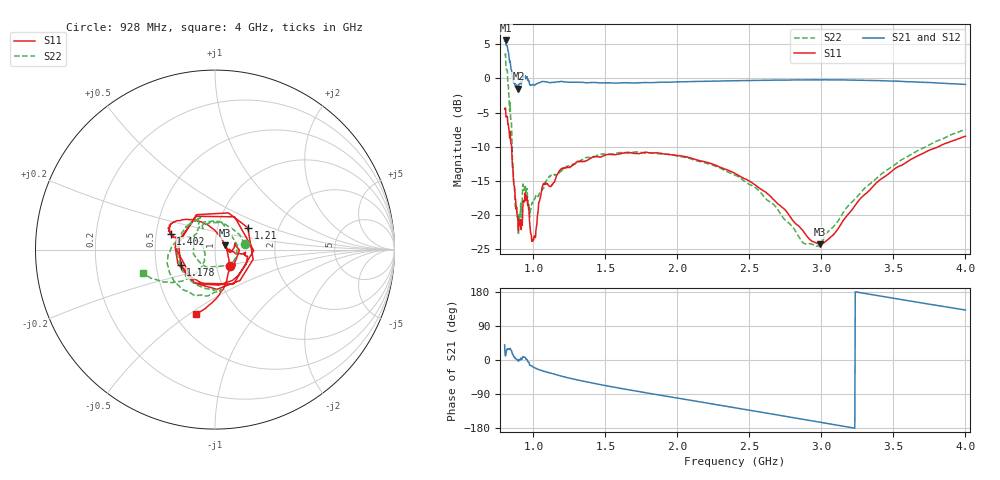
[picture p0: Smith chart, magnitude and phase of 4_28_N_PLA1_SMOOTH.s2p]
!Keysight Technologies N9950B: A.12.38
!Date: Friday, 28 April 2023 16:35:12
!Timezone: (UTC-06:00) Central Time (US & Canada)
!Model: N9950B
!Serial: MY61131330
!GPS Latitude:
!GPS Longitude:
!GPS TimeStamp: 0001-01-01 00:00:00Z
!GPS Seconds Since Last Read: 0
!CHECKSUM:0604874008
!Correction: S11(ON U)S21(ON U)S12(ON U)S22(ON U)
!S2P File: Measurements:S11,S21,S12,S22:
# Hz S DB R 50
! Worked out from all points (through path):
!   1001 points, 800 MHz to 4 GHz, reference 50 ohm
!   highest |S21| = 5.56 dB at 806.4 MHz (marker M1); lowest = -1.5 dB at 896 MHz (marker M2)
!   lowest |S11| = -24.3 dB at 2.989 GHz (marker M3), VSWR 1.13, Z = 55.9 + j2.69 ohm
!   |S11| at or under -10 dB: 848.4 MHz to 3.813 GHz (2.965 GHz wide, 127 % of centre)
!   |S22| runs from -24.6 to 3.6 dB; largest |S21 - S12| = 2.3
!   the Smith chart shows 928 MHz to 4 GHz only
!   S11 on the Smith chart (normalised r, x): 928 MHz: 1.16, -0.21; 1.178 GHz: 0.67, -0.12; 1.21 GHz: 1.39, +0.36; 1.402 GHz: 0.60, +0.11; 4 GHz: 0.63, -0.53
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8e8  -4.49 158.6  5.45 39.8  5.76 -32.6  3.49 -150.1
8.064e8  -4.32 105.4  5.56 10.5  5.86 -4.1  3.60 -108.3
8.192e8  -5.57 147.5  4.74 29.8  5.18 -16.4  1.17 -139.2
8.32e8  -7.85 -174.2  2.93 28.5  3.36 -19.0  -3.46 -171.7
8.48e8  -9.79 -139.0  1.25 24.5  1.63 -23.6  -6.57 152.2
8.8e8  -19.18 -4.5  -1.05 2.9  -0.96 -15.1  -18.73 165.2
8.96e8  -22.33 20.4  -1.50 -3.5  -1.47 -9.3  -22.73 166.6
9.28e8  -18.18 -47.5  0.32 8.9  0.45 -11.0  -15.48 10.0
9.536e8  -17.75 -23.1  0.12 1.7  0.21 -12.1  -16.32 99.8
1.0016e9  -23.66 7.8  -0.92 -19.0  -0.95 -19.0  -17.73 150.0
1.0656e9  -15.70 -8.3  -0.46 -29.0  -0.48 -29.0  -16.15 123.8
1.1776e9  -13.60 -156.1  -0.47 -40.8  -0.48 -40.8  -13.85 131.5
1.2096e9  -13.16 33.8  -0.49 -44.1  -0.50 -44.1  -13.23 -137.6
1.2416e9  -13.01 163.2  -0.55 -47.1  -0.56 -47.2  -12.84 -81.3
1.3344e9  -12.15 162.3  -0.58 -55.0  -0.60 -54.9  -11.96 -96.2
1.4016e9  -11.66 161.0  -0.59 -60.4  -0.60 -60.3  -11.56 -105.0
1.8688e9  -10.93 149.3  -0.57 -92.2  -0.57 -92.2  -11.05 -156.1
2.4e9  -13.93 124.8  -0.35 -125.9  -0.35 -125.9  -14.16 161.3
2.9344e9  -23.88 43.6  -0.20 -160.6  -0.21 -160.5  -24.30 -170.4
2.9888e9  -24.30 23.2  -0.21 -164.2  -0.22 -164.2  -24.42 -154.9
3.4688e9  -13.96 -73.7  -0.38 164.9  -0.39 164.9  -13.24 -132.4
4e9  -8.48 -106.4  -0.88 132.0  -0.88 131.9  -7.50 -162.1
